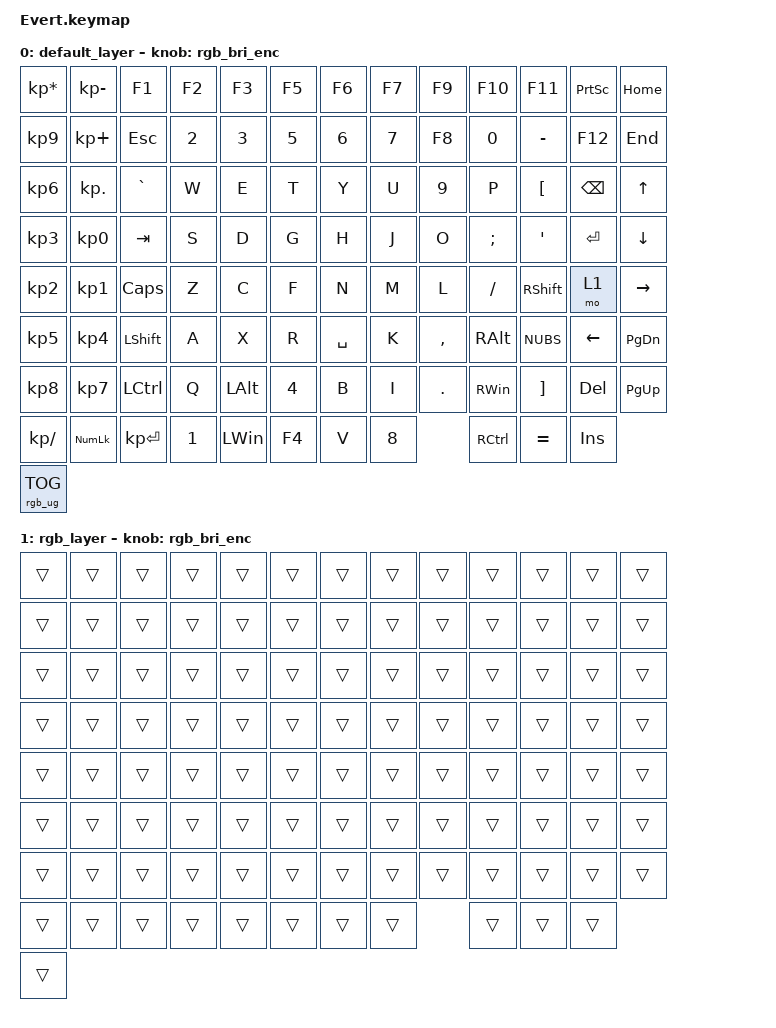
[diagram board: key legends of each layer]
/*
 * Copyright (c) 2021 Nick Winans
 *
 * SPDX-License-Identifier: MIT
 */

#include <behaviors.dtsi>
#include <dt-bindings/zmk/keys.h>
#include <dt-bindings/zmk/rgb.h>
#include <dt-bindings/zmk/bt.h>

/ {
    behaviors {
        rgb_bri_enc: rgb_bri_enc {
            compatible = "zmk,behavior-sensor-rotate";
            #sensor-binding-cells = <0>;
            bindings = <&rgb_ug RGB_BRI>, <&rgb_ug RGB_BRD>;
        };
    };

    keymap {
        compatible = "zmk,keymap";

        default_layer {
// ----------------------------------------------------------------------------------------------------------------------------------
//                      |ESC| | F1 |  F2 |  F3 |  F4 | | F5  | F6  |  F7 |  F8 | | F9 |  F10 | F11 | F12 | Prt |
// | NL| / | * | -  |   | ˇ |  1  |  2  |  3  |  4  |  5  |  6  |  7  |  8  |  9  |  0  |  -  |  =  |   BSPC   | Ins | Home| PgUp |
// | 7 | 8 | 9 |  + |   | TAB  |  Q  |  W  |  E  |  R  |  T  |  Y  |  U  |  I  |  O  |  P  |  [  |  ]  |  Ent  | Del | End | PgDw |
// | 4 | 5 | 6 |    |   | CAPS  |  A  |  S  |  D  |  F  |  G  |  H  |  J  |  K  |  L  |  ;  |  '  |        er  |
// | 1 | 2 | 3 | En |   |  SHIFT  |  Z  |  X  |  C  |  V  |  B  |  N  |  M  |  ,  |  .  |  /  |      SHIFT     |     |  ↑  |
// |   0   | . | ter|   |  CTL  |  WIN  |  ALT  |            SPACE              |  ALT  |  WIN  |  CTL | Mo(1) | ←   |  ↓  |  →   |
// ----------------------------------------------------------------------------------------------------------------------------------
            bindings = <
    &kp KP_ASTERISK &kp KP_MINUS    &kp F1          &kp F2  &kp F3      &kp F5  &kp F6      &kp F7  &kp F9      &kp F10     &kp F11     &kp PSCRN   &kp HOME
    &kp KP_N9       &kp KP_PLUS     &kp ESC         &kp N2  &kp N3      &kp N5  &kp N6      &kp N7  &kp F8      &kp N0      &kp MINUS   &kp F12     &kp END
    &kp KP_N6       &kp KP_DOT      &kp GRAVE       &kp W   &kp E       &kp T   &kp Y       &kp U   &kp N9      &kp P       &kp LBKT    &kp BSPC    &kp UP
    &kp KP_N3       &kp KP_N0       &kp TAB         &kp S   &kp D       &kp G   &kp H       &kp J   &kp O       &kp SEMI    &kp SQT     &kp ENTER   &kp DOWN
    &kp KP_N2       &kp KP_N1       &kp CAPS        &kp Z   &kp C       &kp F   &kp N       &kp M   &kp L       &kp SLASH   &kp RSHFT   &mo 1       &kp RIGHT
    &kp KP_N5       &kp KP_N4       &kp LSHFT       &kp A   &kp X       &kp R   &kp SPACE   &kp K   &kp COMMA   &kp RALT    &kp NUBS    &kp LEFT    &kp PG_DN
    &kp KP_N8       &kp KP_N7       &kp LCTRL       &kp Q   &kp LALT    &kp N4  &kp B       &kp I   &kp DOT     &kp RWIN    &kp RBKT    &kp DEL     &kp PG_UP
    &kp KP_SLASH    &kp KP_NUM      &kp KP_ENTER    &kp N1  &kp LWIN    &kp F4  &kp V       &kp N8              &kp RCTRL   &kp EQUAL   &kp INS
    &rgb_ug RGB_TOG
            >;
            sensor-bindings = <&rgb_bri_enc>;
        };

        rgb_layer {
// ----------------------------------------------------------------------------------------------------------------------------------
//                      |ESC| | F1 |  F2 |  F3 |  F4 | | F5  | F6  |  F7 |  F8 | | F9 |  F10 | F11 | F12 | Prt |
// | NL| / | * | -  |   | ˇ |  1  |  2  |  3  |  4  |  5  |  6  |  7  |  8  |  9  |  0  |  -  |  =  |   BSPC   | Ins | Home| PgUp |
// | 7 | 8 | 9 |  + |   | TAB  |  Q  |  W  |  E  |  R  |  T  |  Y  |  U  |  I  |  O  |  P  |  [  |  ]  |  Ent  | Del | End | PgDw |
// | 4 | 5 | 6 |    |   | CAPS  |  A  |  S  |  D  |  F  |  G  |  H  |  J  |  K  |  L  |  ;  |  '  |        er  |
// | 1 | 2 | 3 | En |   |  SHIFT  |  Z  |  X  |  C  |  V  |  B  |  N  |  M  |  ,  |  .  |  /  |      SHIFT     |     |  ↑  |
// |   0   | . | ter|   |  CTL  |  WIN  |  ALT  |            SPACE              |  ALT  |  WIN  |  CTL | Mo(1) | ←   |  ↓  |  →   |
// ----------------------------------------------------------------------------------------------------------------------------------
            bindings = <
    &trans &trans &trans &trans &trans &trans &trans &trans &trans &trans &trans &trans &trans
    &trans &trans &trans &trans &trans &trans &trans &trans &trans &trans &trans &trans &trans 
    &trans &trans &trans &trans &trans &trans &trans &trans &trans &trans &trans &trans &trans 
    &trans &trans &trans &trans &trans &trans &trans &trans &trans &trans &trans &trans &trans 
    &trans &trans &trans &trans &trans &trans &trans &trans &trans &trans &trans &trans &trans 
    &trans &trans &trans &trans &trans &trans &trans &trans &trans &trans &trans &trans &trans 
    &trans &trans &trans &trans &trans &trans &trans &trans &trans &trans &trans &trans &trans 
    &trans &trans &trans &trans &trans &trans &trans &trans        &trans &trans &trans
    &trans
            >;
            sensor-bindings = <&rgb_bri_enc>;
        };
    };
};
